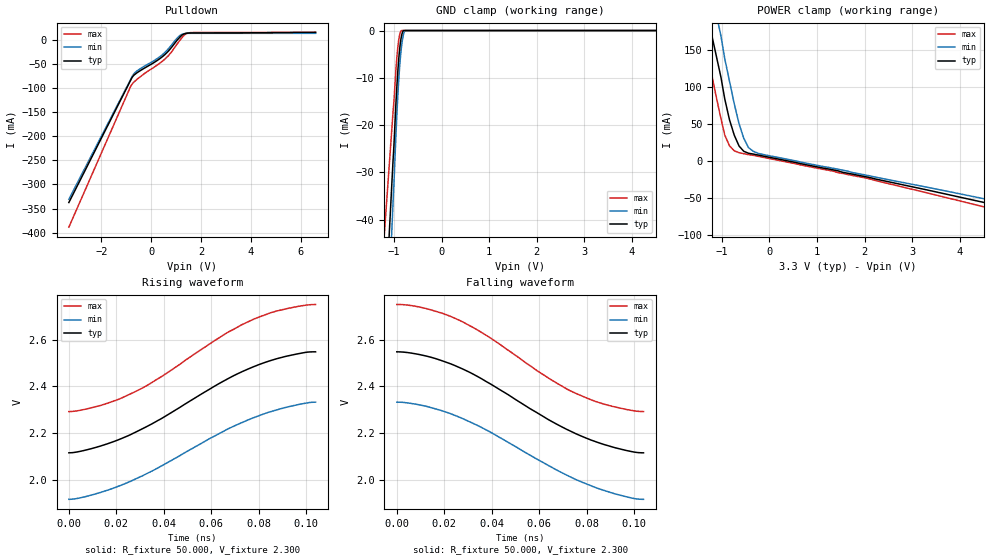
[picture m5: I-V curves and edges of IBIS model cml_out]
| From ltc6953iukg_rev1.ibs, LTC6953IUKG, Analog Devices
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[Model]   cml_out
Model_type Open_drain
Vref=2.300E+00
Rref=5.000E+01
Cref=0.000E+00
Vmeas=1.650E+00
C_comp   5.910E-13   5.540E-13   6.280E-13
[Model Spec]
Vmeas  2.300   2.150   2.450
Vref   2.300   2.150   2.450
[Voltage Range]   3.300E+00   3.150E+00   3.450E+00
[POWER Clamp Reference]   3.300E+00   3.150E+00   3.450E+00
[GND Clamp Reference]   0.000E+00   0.000E+00   0.000E+00
[Pullup Reference]   3.300E+00   3.150E+00   3.450E+00
[Pulldown Reference]   0.000E+00   0.000E+00   0.000E+00
[Temperature Range]   25   125   -40
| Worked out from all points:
|   slope of the pulldown table from 0 to 0.495 V, typ, clamps not added: 28.2 ohm
|   GND clamp passes 1 mA (typ) near -0.84 V on its own axis
|   rising waveform, R_fixture 50.000, V_fixture 2.300: 20-80 % time 45ps typ, 46.7ps min, 42.8ps max; typ from 2.12 V to 2.55 V
|   falling waveform, R_fixture 50.000, V_fixture 2.300: 20-80 % time 44.1ps typ, 45.3ps min, 41.7ps max; typ from 2.55 V to 2.12 V
[GND Clamp]
-3.3V     -469mA     -559.6mA   -339.1mA
-1.02V    -27.64mA   -36.53mA   -17.31mA
-1V       -24.15mA   -32.27mA   -14.88mA
-960mV    -15.63mA   -22.41mA   -8.43mA
-920mV    -8.703mA   -13.95mA   -3.616mA
-900mV    -6mA       -10.47mA   -1.962mA
-880mV    -3.827mA   -7.537mA   -837.1uA
-860mV    -2.18mA    -5.128mA   -204.9uA
-840mV    -1.028mA   -3.227mA   0A
-800mV    0A         -825.3uA   0A
-760mV    0A         0A         0A
6.6V      0A         0A         0A
[Power Clamp]
-3.3V     787.8mA    870mA      778.7mA
-1.42V    231.9mA    292.4mA    182.4mA
-1.22V    172.8mA    230.9mA    119mA
-1.12V    143.2mA    200.2mA    87.46mA
-1.02V    113.6mA    169.5mA    57.43mA
-940mV    84.15mA    138.8mA    35.11mA
-740mV    34.92mA    77.4mA     13.73mA
-540mV    13.05mA    30.58mA    9.821mA
-440mV    10.41mA    18.01mA    8.521mA
-240mV    8.006mA    10.28mA    6.269mA
2.04V     -21.68mA   -19.4mA    -23.42mA
6.6V      -86.07mA   -78.62mA   -95.8mA
[Pulldown]
-3.3V     -337.4mA   -330.8mA   -388.5mA
-800mV    -81.8mA    -80.18mA   -94.84mA
-700mV    -74.15mA   -71.15mA   -88.27mA
-580mV    -69.02mA   -65.27mA   -82.8mA
260mV     -42.48mA   -38.58mA   -52.03mA
560mV     -30.44mA   -25.97mA   -39.89mA
780mV     -18.34mA   -13.37mA   -27.83mA
1.12V     3.388mA    7.137mA    -3.546mA
1.24V     9.584mA    11.24mA    4.402mA
1.36V     12.68mA    12.87mA    10.87mA
1.64V     13.98mA    13.33mA    14.86mA
6.6V      15.37mA    13.33mA    15.19mA
[Rising Waveform]
R_fixture = 50.000
V_fixture = 2.300
V_fixture_min = 2.150
V_fixture_max = 2.450
|  time   V(typ)   V(min)   V(max)
0s        2.116V     1.917V     2.292V
5.5ps     2.124V     1.925V     2.299V
14ps      2.147V     1.949V     2.32V
28ps      2.204V     2.004V     2.377V
39.5ps    2.265V     2.063V     2.445V
66.5ps    2.43V      2.215V     2.628V
78ps      2.485V     2.267V     2.688V
88.5ps    2.521V     2.302V     2.724V
100ps     2.546V     2.329V     2.747V
104ps     2.548V     2.333V     2.75V
[Falling Waveform]
R_fixture = 50.000
V_fixture = 2.300
V_fixture_min = 2.150
V_fixture_max = 2.450
|  time   V(typ)   V(min)   V(max)
0s        2.548V     2.333V     2.75V
11.5ps    2.532V     2.317V     2.735V
23ps      2.495V     2.282V     2.698V
31ps      2.459V     2.247V     2.658V
38.5ps    2.416V     2.21V      2.613V
60ps      2.282V     2.084V     2.461V
73ps      2.21V      2.014V     2.382V
87.5ps    2.151V     1.955V     2.324V
98ps      2.123V     1.925V     2.299V
104ps     2.116V     1.917V     2.292V
[Ramp]
dV/dt_r   2.5609E-01/4.4980E-11   2.4112E-01/4.6620E-11   2.7428E-01/4.2750E-11
dV/dt_f   2.5609E-01/4.4066E-11   2.4112E-01/4.5312E-11   2.7428E-01/4.1656E-11
R_load = 50
